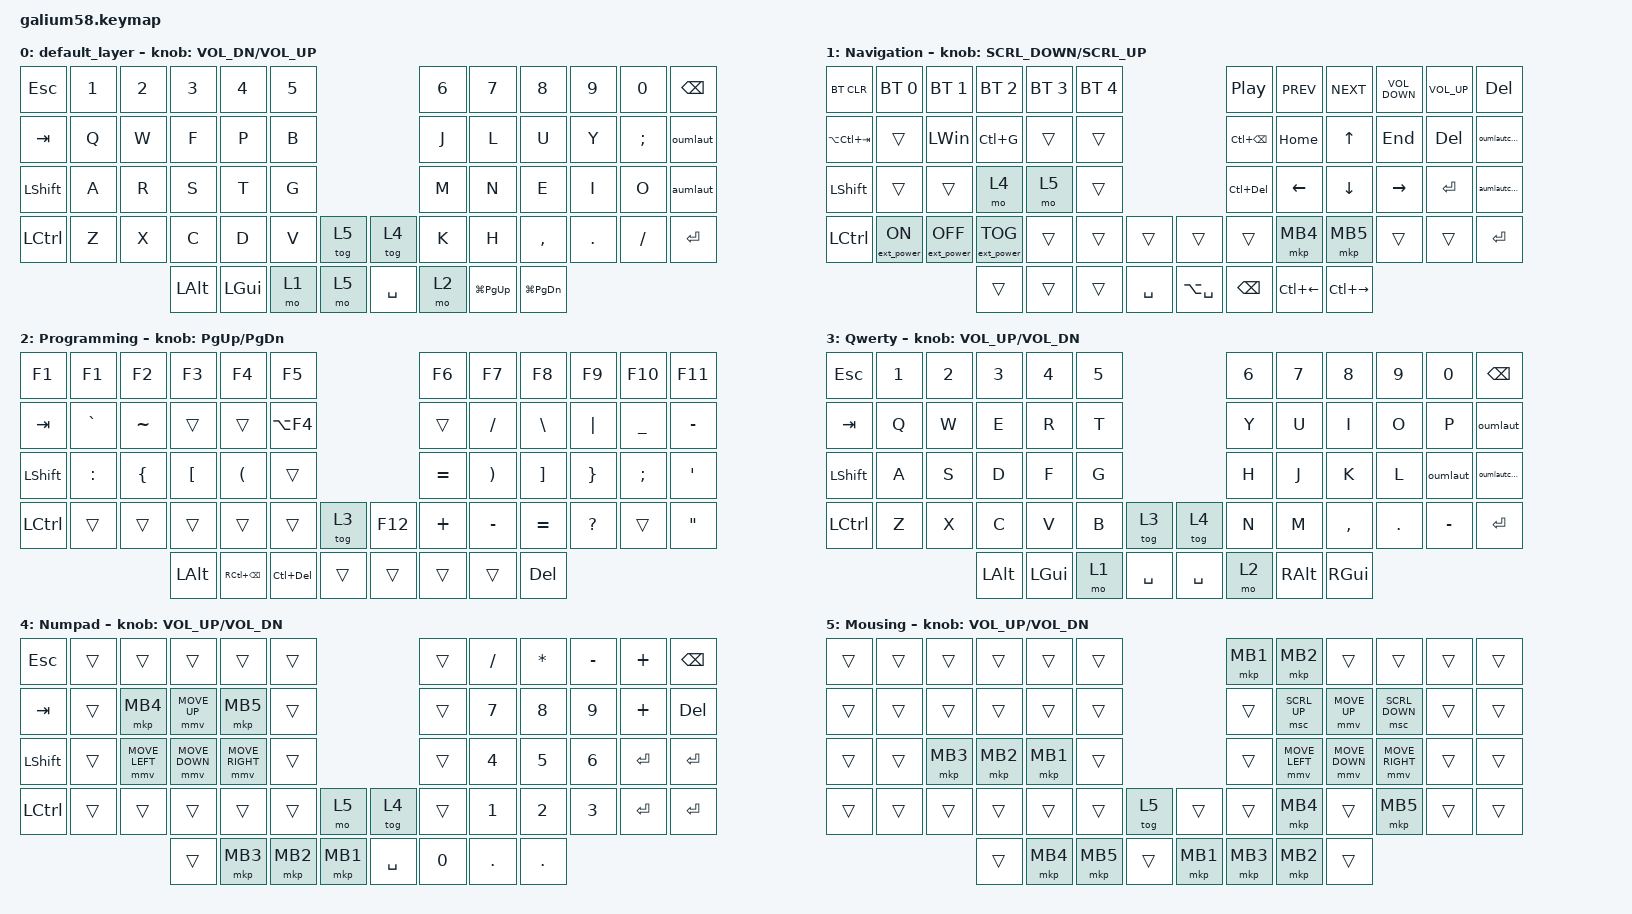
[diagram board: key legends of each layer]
/*
 * Copyright (c) 2020 The ZMK Contributors
 *
 * SPDX-License-Identifier: MIT
 */

#define ZMK_POINTING_DEFAULT_MOVE_VAL 1500  // default: 600
#define ZMK_POINTING_DEFAULT_SCRL_VAL 20    // default: 10

#include <behaviors.dtsi>
#include <dt-bindings/zmk/bt.h>
#include <dt-bindings/zmk/ext_power.h>
#include <dt-bindings/zmk/keys.h>
#include <dt-bindings/zmk/pointing.h>

&mmv {
    acceleration-exponent = <1>;      // 1
    time-to-max-speed-ms = <500>;     // 300
    delay-ms = <0>;                   // 0
};

&msc {
    acceleration-exponent = <1>;      // 0
    time-to-max-speed-ms = <40>;      // 300
    delay-ms = <0>;                   // 0
};

/ {

    behaviors {
        scroll_rotation: sensor_rotation_scroll {
            compatible = "zmk,behavior-sensor-rotate-var";
            #sensor-binding-cells = <2>;
            bindings = <&msc>, <&msc>;
            tap-ms = <200>;
        };
    };

    macros {
        aumlaut: aumlaut {
            compatible = "zmk,behavior-macro";
            #binding-cells = <0>;
            bindings =
                <&macro_press>,
                <&kp LEFT_ALT>,
                <&macro_tap>,
                <&kp KP_N1 &kp KP_N3 &kp KP_N2>,
                <&macro_release>,
                <&kp LEFT_ALT>;

            label = "ä";
            tap-ms = <1>;
        };

        aumlautcaps: aumlautcaps {
            compatible = "zmk,behavior-macro";
            #binding-cells = <0>;
            bindings =
                <&macro_press>,
                <&kp LEFT_ALT>,
                <&macro_tap>,
                <&kp KP_N1 &kp KP_N4 &kp KP_N2>,
                <&macro_release>,
                <&kp LEFT_ALT>;

            label = "Ä";
            tap-ms = <1>;
        };

        oumlaut: oumlaut {
            compatible = "zmk,behavior-macro";
            #binding-cells = <0>;
            bindings =
                <&macro_press>,
                <&kp LEFT_ALT>,
                <&macro_tap>,
                <&kp KP_N1 &kp KP_N4 &kp KP_N8>,
                <&macro_release>,
                <&kp LEFT_ALT>;

            label = "ö";
            tap-ms = <1>;
        };

        oumlautcaps: oumlautcaps {
            compatible = "zmk,behavior-macro";
            #binding-cells = <0>;
            bindings =
                <&macro_press>,
                <&kp LEFT_ALT>,
                <&macro_tap>,
                <&kp KP_N1 &kp KP_N5 &kp KP_N3>,
                <&macro_release>,
                <&kp LEFT_ALT>;

            label = "Ö";
            tap-ms = <1>;
        };
    };

    keymap {
        compatible = "zmk,keymap";

        default_layer {
            // ------------------------------------------------------------------------------------------------------------
            // |  ESC  |  1  |  2  |  3   |  4   |  5   |                   |  6   |  7    |  8    |  9   |   0   |   `   |
            // |  TAB  |  Q  |  W  |  E   |  R   |  T   |                   |  Y   |  U    |  I    |  O   |   P   |   -   |
            // |  CTRL |  A  |  S  |  D   |  F   |  G   |                   |  H   |  J    |  K    |  L   |   ;   |   '   |
            // | SHIFT |  Z  |  X  |  C   |  V   |  B   |   "["  |  |  "]"  |  N   |  M    |  ,    |  .   |   /   | SHIFT |
            //                     | ALT  | GUI  | LOWER|  SPACE |  | ENTER | RAISE| BSPC  | GUI   |

            bindings = <
&kp ESC           &kp N1  &kp N2  &kp N3    &kp N4    &kp N5                     &kp N6  &kp N7         &kp N8         &kp N9   &kp N0         &kp BACKSPACE
&kp TAB           &kp Q   &kp W   &kp F     &kp P     &kp B                      &kp J   &kp L          &kp U          &kp Y    &kp SEMICOLON  &oumlaut
&kp LEFT_SHIFT    &kp A   &kp R   &kp S     &kp T     &kp G                      &kp M   &kp N          &kp E          &kp I    &kp O          &aumlaut
&kp LEFT_CONTROL  &kp Z   &kp X   &kp C     &kp D     &kp V   &tog 5  &tog 4     &kp K   &kp H          &kp COMMA      &kp DOT  &kp FSLH       &kp ENTER
                                  &kp LALT  &kp LGUI  &mo 1   &mo 5   &kp SPACE  &mo 2   &kp LG(PG_UP)  &kp LG(PG_DN)
            >;

            sensor-bindings = <&inc_dec_kp C_VOL_DN C_VOL_UP>;
        };

        Navigation {
            // ------------------------------------------------------------------------------------------------------------
            // | BTCLR | BT1 | BT2 |  BT3 |  BT4 |  BT5 |                   |      |       |       |      |       |       |
            // |  F1   |  F2 |  F3 |  F4  |  F5  |  F6  |                   |  F7  |  F8   |  F9   |  F10 |  F11  |  F12  |
            // |   `   |  !  |  @  |  #   |  $   |  %   |                   |  ^   |  &    |  *    |  (   |   )   |   ~   |
            // |       |     |     |      |      |      |        |  |       |      |  _    |  +    |  {   |   }   |  "|"  |
            //                     |      |      |      |        |  |       |      |       |       |

            bindings = <
&bt BT_CLR       &bt BT_SEL 0      &bt BT_SEL 1       &bt BT_SEL 2       &bt BT_SEL 3  &bt BT_SEL 4                            &kp C_PLAY_PAUSE   &kp C_PREV    &kp C_NEXT     &kp C_VOLUME_DOWN  &kp C_VOLUME_UP  &kp DELETE
&kp LA(LC(TAB))  &trans            &kp LEFT_WIN       &kp LC(G)          &trans        &trans                                  &kp LC(BACKSPACE)  &kp HOME      &kp UP_ARROW   &kp END            &kp DELETE       &oumlautcaps
&kp LSHIFT       &trans            &trans             &mo 4              &mo 5         &trans                                  &kp LC(DELETE)     &kp LEFT      &kp DOWN       &kp RIGHT          &kp ENTER        &aumlautcaps
&kp LCTRL        &ext_power EP_ON  &ext_power EP_OFF  &ext_power EP_TOG  &trans        &trans        &trans     &trans         &trans             &mkp MB4      &mkp MB5       &trans             &trans           &kp ENTER
                                                      &trans             &trans        &trans        &kp SPACE  &kp LA(SPACE)  &kp BACKSPACE      &kp LC(LEFT)  &kp LC(RIGHT)
            >;

            sensor-bindings = <&scroll_rotation SCRL_DOWN SCRL_UP>;
        };

        Programming {
            // ------------------------------------------------------------------------------------------------------------
            // |       |     |     |      |      |      |                   |      |       |       |      |       |       |
            // |   `   |  1  |  2  |  3   |  4   |  5   |                   |  6   |   7   |   8   |  9   |   0   |       |
            // |   F1  |  F2 |  F3 |  F4  |  F5  |  F6  |                   |      |   <-  |   v   |  ^   |  ->   |       |
            // |   F7  |  F8 |  F9 |  F10 |  F11 |  F12 |        |  |       |  +   |   -   |   =   |  [   |   ]   |   \   |
            //                     |      |      |      |        |  |       |      |       |       |

            bindings = <
&kp F1          &kp F1     &kp F2          &kp F3            &kp F4                &kp F5                           &kp F6     &kp F7                 &kp F8             &kp F9           &kp F10        &kp F11
&kp TAB         &kp GRAVE  &kp TILDE       &trans            &trans                &kp LA(F4)                       &trans     &kp SLASH              &kp BACKSLASH      &kp PIPE         &kp UNDER      &kp MINUS
&kp LEFT_SHIFT  &kp COLON  &kp LEFT_BRACE  &kp LEFT_BRACKET  &kp LEFT_PARENTHESIS  &trans                           &kp EQUAL  &kp RIGHT_PARENTHESIS  &kp RIGHT_BRACKET  &kp RIGHT_BRACE  &kp SEMICOLON  &kp SQT
&kp LCTRL       &trans     &trans          &trans            &trans                &trans          &tog 3  &kp F12  &kp PLUS   &kp MINUS              &kp EQUAL          &kp QUESTION     &trans         &kp DOUBLE_QUOTES
                                           &kp LEFT_ALT      &kp RC(BACKSPACE)     &kp LC(DELETE)  &trans  &trans   &trans     &trans                 &kp DELETE
            >;

            sensor-bindings = <&inc_dec_kp PG_UP PG_DN>;
        };

        Qwerty {
            bindings = <
&kp ESC    &kp N1  &kp N2  &kp N3    &kp N4    &kp N5                        &kp N6  &kp N7    &kp N8     &kp N9   &kp N0     &kp BSPC
&kp TAB    &kp Q   &kp W   &kp E     &kp R     &kp T                         &kp Y   &kp U     &kp I      &kp O    &kp P      &oumlaut
&kp LSHFT  &kp A   &kp S   &kp D     &kp F     &kp G                         &kp H   &kp J     &kp K      &kp L    &oumlaut   &oumlautcaps
&kp LCTRL  &kp Z   &kp X   &kp C     &kp V     &kp B   &tog 3     &tog 4     &kp N   &kp M     &kp COMMA  &kp DOT  &kp MINUS  &kp ENTER
                           &kp LALT  &kp LGUI  &mo 1   &kp SPACE  &kp SPACE  &mo 2   &kp RALT  &kp RGUI
            >;

            sensor-bindings = <&inc_dec_kp C_VOL_UP C_VOL_DN>;
        };

        Numpad {
            bindings = <
&kp ESC    &trans  &trans          &trans          &trans           &trans                         &trans  &kp SLASH  &kp ASTERISK  &kp MINUS  &kp PLUS   &kp BSPC
&kp TAB    &trans  &mkp MB4        &mmv MOVE_UP    &mkp MB5         &trans                         &trans  &kp N7     &kp N8        &kp N9     &kp PLUS   &kp DEL
&kp LSHFT  &trans  &mmv MOVE_LEFT  &mmv MOVE_DOWN  &mmv MOVE_RIGHT  &trans                         &trans  &kp N4     &kp N5        &kp N6     &kp ENTER  &kp ENTER
&kp LCTRL  &trans  &trans          &trans          &trans           &trans    &mo 5     &tog 4     &trans  &kp N1     &kp N2        &kp N3     &kp ENTER  &kp ENTER
                                   &trans          &mkp MB3         &mkp MB2  &mkp MB1  &kp SPACE  &kp N0  &kp DOT    &kp DOT
            >;

            sensor-bindings = <&inc_dec_kp C_VOL_UP C_VOL_DN>;
        };

        Mousing {
            bindings = <
&trans  &trans  &trans    &trans    &trans    &trans                      &mkp MB1  &mkp MB2        &trans          &trans           &trans  &trans
&trans  &trans  &trans    &trans    &trans    &trans                      &trans    &msc SCRL_UP    &mmv MOVE_UP    &msc SCRL_DOWN   &trans  &trans
&trans  &trans  &mkp MB3  &mkp MB2  &mkp MB1  &trans                      &trans    &mmv MOVE_LEFT  &mmv MOVE_DOWN  &mmv MOVE_RIGHT  &trans  &trans
&trans  &trans  &trans    &trans    &trans    &trans    &tog 5  &trans    &trans    &mkp MB4        &trans          &mkp MB5         &trans  &trans
                          &trans    &mkp MB4  &mkp MB5  &trans  &mkp MB1  &mkp MB3  &mkp MB2        &trans
            >;

            sensor-bindings = <&inc_dec_kp C_VOL_UP C_VOL_DN>;
        };
    };
};
